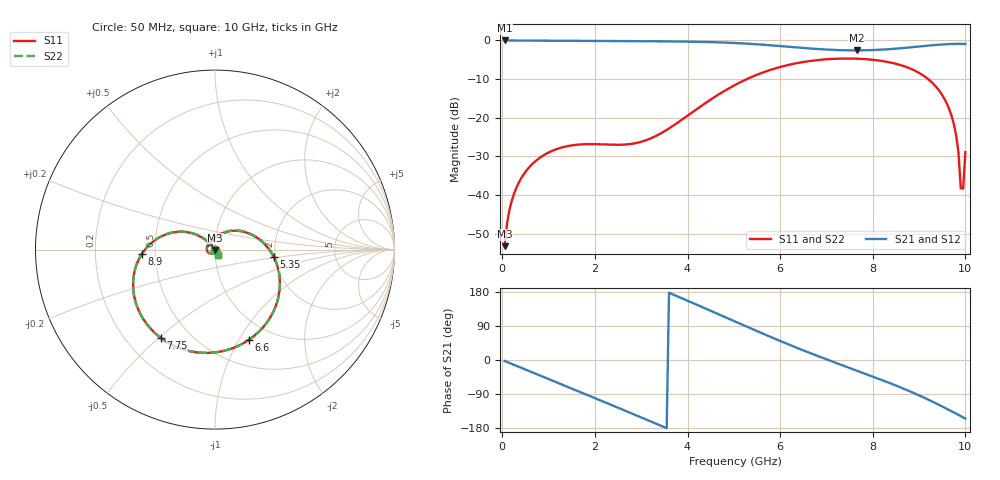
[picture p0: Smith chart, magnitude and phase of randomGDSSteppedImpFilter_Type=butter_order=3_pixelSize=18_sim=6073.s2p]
! freq	dB(S11)	phase(S11)	dB(S12)	phase(S12)
!  dB(S21)	phase(S21)	dB(S22)	phase(S22)
!S-par simulation data
#  GHz  S  DB  R 50
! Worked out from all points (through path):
!   200 points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, 50 MHz to 10 GHz, reference 50 ohm
!   highest |S21| = 0.00 dB at 50 MHz (marker M1); lowest = -2.6 dB at 7.65 GHz (marker M2)
!   group delay of S21, straight-line fit = 141 ps
!   lowest |S11| = -53.2 dB at 50 MHz (marker M3), VSWR 1.00, Z = 50 - j0.217 ohm
!   |S11| at or under -10 dB: start of sweep to 5.282 GHz; 9.196 GHz to end of sweep
!   |S22| runs from -53.2 to -4.7 dB; largest |S21 - S12| = 0
!   S11 on the Smith chart (normalised r, x): 50 MHz: 1.00, -0.00; 5.35 GHz: 1.96, -0.18; 6.6 GHz: 0.78, -1.10; 7.75 GHz: 0.34, -0.51; 8.9 GHz: 0.42, -0.03; 10 GHz: 1.03, -0.07
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0.05  -53.19 -81.3  -0.00 -2.6  -0.00 -2.6  -53.19 -81.2
0.2  -41.63 -97.6  -0.02 -10.1  -0.02 -10.1  -41.63 -97.5
0.5  -33.98 -115.3  -0.04 -25.2  -0.04 -25.2  -33.98 -115.1
1.15  -28.19 -150.0  -0.07 -57.8  -0.07 -57.8  -28.19 -149.5
1.75  -26.85 178.7  -0.11 -88.0  -0.11 -88.0  -26.85 179.6
2.5  -26.98 138.9  -0.16 -126.0  -0.16 -126.0  -26.99 140.5
3.4  -24.19 92.1  -0.23 -172.1  -0.23 -172.1  -24.20 93.9
4.15  -18.17 54.8  -0.34 148.5  -0.34 148.5  -18.17 55.8
5.05  -11.36 8.5  -0.68 100.3  -0.68 100.3  -11.37 9.0
5.35  -9.63 -7.2  -0.88 84.3  -0.88 84.3  -9.63 -6.8
6.6  -5.39 -69.6  -2.04 20.6  -2.04 20.6  -5.39 -69.5
6.7  -5.23 -74.3  -2.13 15.8  -2.13 15.8  -5.23 -74.2
7.65  -4.72 -117.2  -2.57 -27.7  -2.57 -27.7  -4.72 -117.1
7.75  -4.77 -121.6  -2.56 -32.2  -2.56 -32.2  -4.77 -121.6
8.35  -5.63 -149.0  -2.26 -60.1  -2.26 -60.1  -5.63 -149.0
8.9  -7.76 -176.4  -1.69 -87.9  -1.69 -87.9  -7.76 -176.5
9.65  -17.74 141.0  -0.94 -132.0  -0.94 -132.0  -17.74 140.3
9.8  -24.48 132.8  -0.89 -141.6  -0.89 -141.6  -24.49 131.0
9.85  -28.88 131.2  -0.88 -144.8  -0.88 -144.8  -28.91 128.0
9.9  -38.21 136.9  -0.88 -148.0  -0.88 -148.0  -38.44 126.2
9.95  -38.33 -70.7  -0.89 -151.3  -0.89 -151.3  -38.46 -60.6
10  -28.93 -66.1  -0.90 -154.6  -0.90 -154.6  -28.93 -62.7
